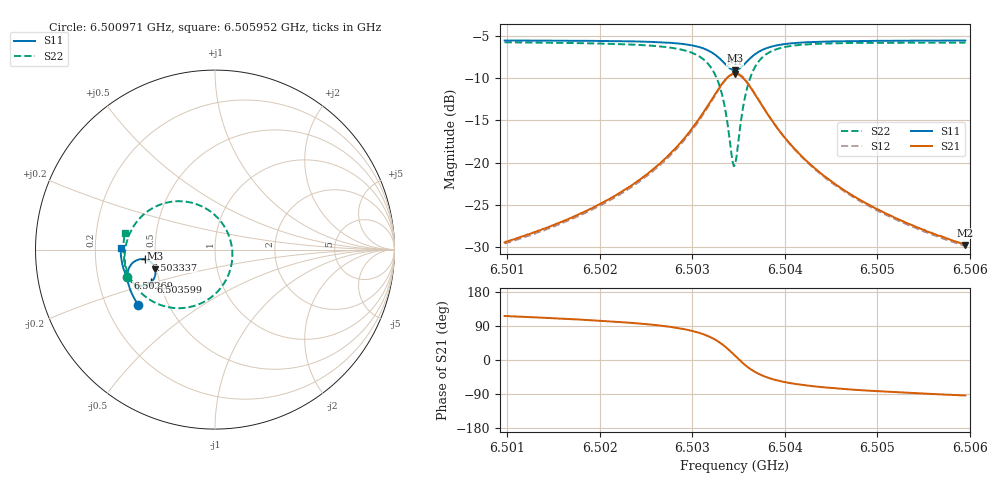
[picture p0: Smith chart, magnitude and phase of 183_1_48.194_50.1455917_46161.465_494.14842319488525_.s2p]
#  HZ  S  RI  R  50.00
! Rohde & Schwarz Vector Network Analyzer
! Rohde-Schwarz,ZNB20-2Port,1311601062101988,3.16
! Created: UTC 3/20/2024, 11:44:12 AM
! freq[Hz]  re:S11  im:S11  re:S21  im:S21  re:S12  im:S12  re:S22  im:S22
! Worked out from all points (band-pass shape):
!   401 points, 6.500971 GHz to 6.505952 GHz, reference 50 ohm
!   highest |S21| = -9.50 dB at 6.503462 GHz (marker M1); lowest = -29.7 dB at 6.505952 GHz (marker M2)
!   |S21| within 3 dB of the highest: 6.503213 GHz to 6.50371 GHz (497.7 kHz wide, 0.00765 % of centre)
!   lowest |S11| = -9.1 dB at 6.503462 GHz (marker M3), VSWR 2.08, Z = 24.5 - j5.89 ohm
!   |S11| at or under -10 dB: nowhere
!   |S22| runs from -20.4 to -5.8 dB; largest |S21 - S12| = 0.012
!   S11 on the Smith chart (normalised r, x): 6.500971 GHz: 0.34, -0.29; 6.50269 GHz: 0.33, -0.14; 6.503337 GHz: 0.44, -0.06; 6.503599 GHz: 0.45, -0.19; 6.505952 GHz: 0.31, +0.01
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6.5009711e9  -0.4271 -0.3079  -0.0148 0.0304  -0.0132 0.0305  -0.4905 -0.1521
6.5018054e9  -0.4629 -0.246  -0.014 0.0484  -0.0117 0.0479  -0.5034 -0.0629
6.502316e9  -0.4804 -0.1999  -0.0105 0.071  -0.00743 0.0697  -0.4985 0.0117
6.5026398e9  -0.4877 -0.1633  -0.00195 0.0977  0.00175 0.0954  -0.4798 0.0787
6.5026896e9  -0.4881 -0.1567  0.00045 0.1034  0.00427 0.1008  -0.4744 0.0914
6.5029636e9  -0.4831 -0.1131  0.0292 0.1474  0.0329 0.1428  -0.4147 0.1791
6.503138e9  -0.462 -0.0772  0.0822 0.1874  0.0845 0.1812  -0.3138 0.2475
6.50325e9  -0.4288 -0.0565  0.1525 0.205  0.1532 0.1987  -0.187 0.2693
6.5033372e9  -0.3876 -0.0552  0.2332 0.1881  0.2335 0.1831  -0.0476 0.2272
6.5034244e9  -0.3452 -0.0838  0.3108 0.1141  0.3132 0.1096  0.076 0.0816
6.5034493e9  -0.3373 -0.0979  0.324 0.0827  0.3271 0.0774  0.0926 0.0222
6.5034617e9  -0.3345 -0.1055  0.3283 0.066  0.3316 0.0602  0.0965 -0.00885
6.5034866e9  -0.3316 -0.1215  0.3316 0.0317  0.3353 0.0246  0.0937 -0.0716
6.503524e9  -0.3338 -0.1453  0.3244 -0.0181  0.3274 -0.0271  0.0664 -0.1593
6.5035987e9  -0.3559 -0.1818  0.2782 -0.0933  0.2778 -0.1048  -0.0424 -0.2805
6.5037108e9  -0.401 -0.2013  0.1923 -0.1382  0.1868 -0.1478  -0.2163 -0.3261
6.5038727e9  -0.4476 -0.1916  0.1095 -0.1345  0.1024 -0.1396  -0.3655 -0.278
6.5040471e9  -0.4753 -0.1702  0.0645 -0.114  0.0581 -0.1161  -0.4382 -0.2118
6.5042961e9  -0.4961 -0.1404  0.0342 -0.0891  0.0293 -0.0896  -0.4818 -0.139
6.5046448e9  -0.511 -0.1036  0.0158 -0.0667  0.0125 -0.0662  -0.5035 -0.0678
6.5051305e9  -0.5209 -0.0582  0.00513 -0.0486  0.00278 -0.0479  -0.5105 0.00206
6.5059524e9  -0.5259 0.0114  -0.00207 -0.0326  -0.00347 -0.0319  -0.5026 0.0898
